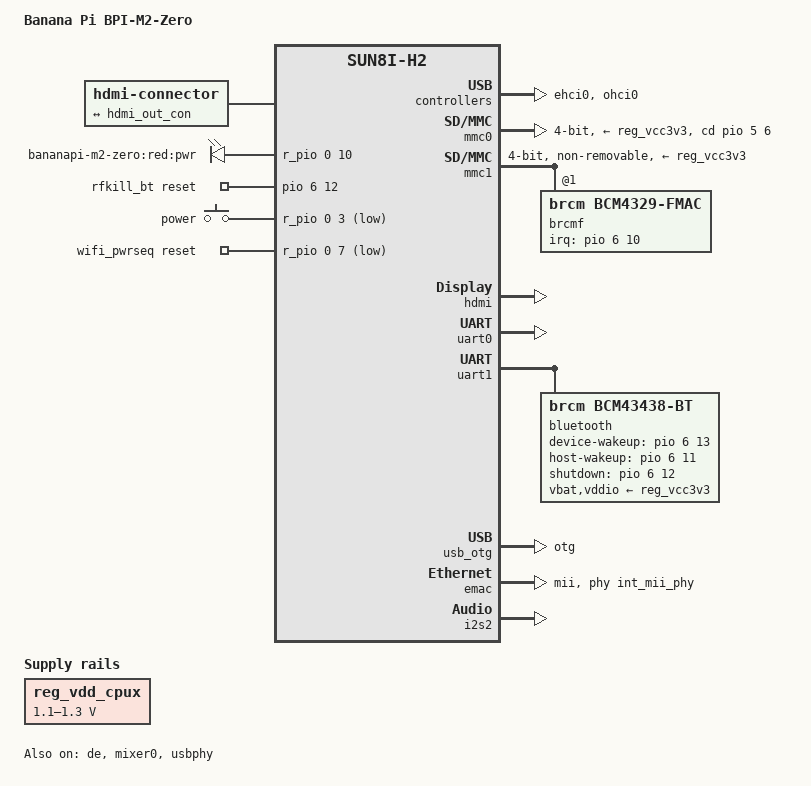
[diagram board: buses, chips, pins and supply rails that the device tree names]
// SPDX-License-Identifier: (GPL-2.0+ OR MIT)
/*
 * Copyright (C) 2017 Icenowy Zheng <icenowy@aosc.io>
 *
 * Based on sun8i-h3-bananapi-m2-plus.dts, which is:
 *   Copyright (C) 2016 Chen-Yu Tsai <wens@csie.org>
 */

/dts-v1/;
#include "sun8i-h3.dtsi"
#include "sunxi-common-regulators.dtsi"

#include <dt-bindings/gpio/gpio.h>
#include <dt-bindings/input/input.h>

/ {
	model = "Banana Pi BPI-M2-Zero";
	compatible = "sinovoip,bpi-m2-zero", "allwinner,sun8i-h2-plus";

	aliases {
		serial0 = &uart0;
		serial1 = &uart1;
		ethernet0 = &emac;
	};

	chosen {
		stdout-path = "serial0:115200n8";
	};

	connector {
		compatible = "hdmi-connector";
		type = "a";

		port {
			hdmi_con_in: endpoint {
				remote-endpoint = <&hdmi_out_con>;
			};
		};
	};

	leds {
		compatible = "gpio-leds";

		pwr_led {
			label = "bananapi-m2-zero:red:pwr";
			gpios = <&r_pio 0 10 GPIO_ACTIVE_HIGH>; /* PL10 */
			linux,default-trigger = "heartbeat";
		};
	};

	rfkill_bt: rfkill_bt {
		compatible = "rfkill-gpio";
		pinctrl-names = "default";
		pinctrl-0 = <&bt_pwr_pin>;
		reset-gpios = <&pio 6 12 GPIO_ACTIVE_HIGH>; /* PG12 */
		clocks = <&osc32k>;
		clock-frequency = <32768>;
		rfkill-name = "sunxi-bt";
		rfkill-type = "bluetooth";
	};

	gpio_keys {
		compatible = "gpio-keys";

		sw4 {
			label = "power";
			linux,code = <BTN_0>;
			gpios = <&r_pio 0 3 GPIO_ACTIVE_LOW>;
		};
	};

	reg_vdd_cpux: vdd-cpux-regulator {
		compatible = "regulator-gpio";
		regulator-name = "vdd-cpux";
		regulator-type = "voltage";
		regulator-boot-on;
		regulator-always-on;
		regulator-min-microvolt = <1100000>;
		regulator-max-microvolt = <1300000>;
		regulator-ramp-delay = <50>; /* 4ms */

		gpios = <&r_pio 0 1 GPIO_ACTIVE_HIGH>; /* PL1 */
		enable-active-high;
		gpios-states = <0x1>;
		states = <1100000 0>, <1300000 1>;
	};

	wifi_pwrseq: wifi_pwrseq {
		compatible = "mmc-pwrseq-simple";
		reset-gpios = <&r_pio 0 7 GPIO_ACTIVE_LOW>; /* PL7 */
		clocks = <&rtc 1>;
		clock-names = "ext_clock";
	};
};

&pio {
	bt_pwr_pin: bt_pwr_pin {
		pins = "PG12";
		function = "gpio_out";
	};
};


&r_pio {
	wifi_en_pin: wifi_en_pin {
		pins = "PL7";
		function = "gpio_out";
	};
};

&cpu0 {
	cpu-supply = <&reg_vdd_cpux>;
};

&ehci0 {
	status = "okay";
};

&mmc0 {
	vmmc-supply = <&reg_vcc3v3>;
	bus-width = <4>;
	/*
	 * On the production batch of this board the card detect GPIO is
	 * high active (card inserted), although on the early samples it's
	 * low active.
	 */
	cd-gpios = <&pio 5 6 GPIO_ACTIVE_HIGH>; /* PF6 */
	status = "okay";
};

&mmc1 {
	vmmc-supply = <&reg_vcc3v3>;
	vqmmc-supply = <&reg_vcc3v3>;
	mmc-pwrseq = <&wifi_pwrseq>;
	bus-width = <4>;
	non-removable;
	status = "okay";

	brcmf: wifi@1 {
		reg = <1>;
		compatible = "brcm,bcm4329-fmac";
		interrupt-parent = <&pio>;
		interrupts = <6 10 IRQ_TYPE_LEVEL_LOW>; /* PG10 / EINT10 */
		interrupt-names = "host-wake";
	};
};

&de {
	status = "okay";
};

&hdmi {
	status = "okay";
};

&hdmi_out {
	hdmi_out_con: endpoint {
		remote-endpoint = <&hdmi_con_in>;
	};
};

&mixer0 {
	status = "okay";
};

&ohci0 {
	status = "okay";
};

&uart0 {
	pinctrl-names = "default";
	pinctrl-0 = <&uart0_pa_pins>;
	status = "okay";
};

&uart1 {
	pinctrl-names = "default";
	pinctrl-0 = <&uart1_pins>, <&uart1_rts_cts_pins>;
	uart-has-rtscts;
	status = "okay";

	bluetooth {
		compatible = "brcm,bcm43438-bt";
		clocks = <&rtc 1>;
		clock-names = "lpo";
		vbat-supply = <&reg_vcc3v3>;
		vddio-supply = <&reg_vcc3v3>;
		device-wakeup-gpios = <&pio 6 13 GPIO_ACTIVE_HIGH>; /* PG13 */
		host-wakeup-gpios = <&pio 6 11 GPIO_ACTIVE_HIGH>; /* PG11 */
		shutdown-gpios = <&pio 6 12 GPIO_ACTIVE_HIGH>; /* PG12 */
	};

};

&usb_otg {
	dr_mode = "otg";
	status = "okay";
};

&usbphy {
	usb0_id_det-gpios = <&r_pio 0 6 GPIO_ACTIVE_HIGH>; /* PL6 */
	/*
	 * There're two micro-USB connectors, one is power-only and another is
	 * OTG. The Vbus of these two connectors are connected together, so
	 * the external USB device will be powered just by the power input
	 * from the power-only USB port.
	 */
	status = "okay";
};


&emac {
	status = "okay";
	phy-handle = <&int_mii_phy>;
	phy-mode = "mii";
	allwinner,leds-active-low;
};

&i2s2 {
	status = "okay";
};

&sound_hdmi {
	status = "okay";
};
